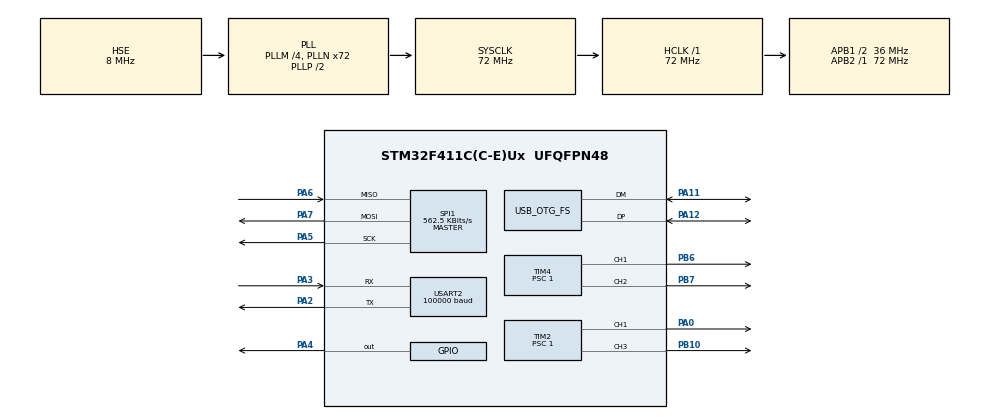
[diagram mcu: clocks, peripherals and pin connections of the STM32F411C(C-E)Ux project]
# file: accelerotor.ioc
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Mcu.Family=STM32F4
Dma.TIM2_CH1.0.MemInc=DMA_MINC_ENABLE
PA6.Mode=Full_Duplex_Master
USB_DEVICE.CLASS_NAME_FS=CDC
RCC.CortexFreq_Value=72000000
SPI1.VirtualType=VM_MASTER
USART2.Parity=PARITY_EVEN
PA11.Mode=Device_Only
Dma.SPI1_RX.4.PeriphInc=DMA_PINC_DISABLE
Dma.TIM2_CH1.0.Instance=DMA1_Stream5
Dma.TIM4_CH2.3.Direction=DMA_MEMORY_TO_PERIPH
RCC.SYSCLKSource=RCC_SYSCLKSOURCE_PLLCLK
ProjectManager.StackSize=0x400
Dma.SPI1_TX.5.Instance=DMA2_Stream2
Dma.TIM4_CH2.3.FIFOMode=DMA_FIFOMODE_DISABLE
PA12.Signal=USB_OTG_FS_DP
PH0\ -\ OSC_IN.Signal=RCC_OSC_IN
Dma.TIM4_CH1.2.Direction=DMA_MEMORY_TO_PERIPH
SPI1.Direction=SPI_DIRECTION_2LINES
Dma.TIM4_CH1.2.Priority=DMA_PRIORITY_LOW
RCC.HCLKFreq_Value=72000000
RCC.APB2TimFreq_Value=72000000
PB6.Signal=S_TIM4_CH1
SPI1.CalculateBaudRate=562.5 KBits/s
NVIC.DMA2_Stream0_IRQn=true\:0\:0\:false\:false\:true\:false\:true
Dma.SPI1_RX.4.MemDataAlignment=DMA_MDATAALIGN_BYTE
RCC.AHBFreq_Value=72000000
Dma.TIM4_CH1.2.Mode=DMA_CIRCULAR
RCC.HSE_VALUE=8000000
PA4.GPIO_PuPd=GPIO_NOPULL
PA4.GPIO_Speed=GPIO_SPEED_FREQ_HIGH
Dma.TIM4_CH1.2.MemDataAlignment=DMA_MDATAALIGN_WORD
Dma.TIM4_CH1.2.MemInc=DMA_MINC_ENABLE
SH.S_TIM4_CH2.0=TIM4_CH2,PWM Generation2 CH2
PB7.Signal=S_TIM4_CH2
Dma.SPI1_TX.5.FIFOMode=DMA_FIFOMODE_DISABLE
Dma.TIM4_CH2.3.Instance=DMA1_Stream3
TIM2.Channel-PWM\ Generation1\ CH1=TIM_CHANNEL_1
Dma.SPI1_TX.5.Priority=DMA_PRIORITY_LOW
TIM4.Period=120
Dma.SPI1_RX.4.FIFOMode=DMA_FIFOMODE_DISABLE
Dma.SPI1_RX.4.MemInc=DMA_MINC_ENABLE
Mcu.Package=UFQFPN48
TIM2.Prescaler=1
Dma.TIM2_CH1.0.FIFOMode=DMA_FIFOMODE_DISABLE
PA6.Signal=SPI1_MISO
Dma.TIM4_CH1.2.FIFOMode=DMA_FIFOMODE_DISABLE
Dma.TIM2_CH3/UP.1.MemDataAlignment=DMA_MDATAALIGN_WORD
USART2.VirtualMode=VM_ASYNC
NVIC.OTG_FS_IRQn=true\:0\:0\:false\:false\:true\:true\:true
USB_OTG_FS.VirtualMode=Device_Only
USART2.WordLength=WORDLENGTH_9B
Dma.TIM2_CH1.0.PeriphDataAlignment=DMA_PDATAALIGN_WORD
Dma.SPI1_TX.5.Direction=DMA_MEMORY_TO_PERIPH
NVIC.DMA2_Stream2_IRQn=true\:0\:0\:false\:false\:true\:false\:true
SH.S_TIM4_CH1.0=TIM4_CH1,PWM Generation1 CH1
Dma.Request2=TIM4_CH1
Dma.TIM4_CH1.2.Instance=DMA1_Stream0
Dma.Request1=TIM2_CH3/UP
Dma.TIM2_CH3/UP.1.Direction=DMA_MEMORY_TO_PERIPH
RCC.APB1TimFreq_Value=72000000
Dma.Request4=SPI1_RX
Dma.TIM2_CH3/UP.1.Priority=DMA_PRIORITY_LOW
Dma.Request3=TIM4_CH2
Dma.Request5=SPI1_TX
NVIC.DMA1_Stream0_IRQn=true\:0\:0\:false\:false\:true\:false\:true
Dma.Request0=TIM2_CH1
SPI1.BaudRatePrescaler=SPI_BAUDRATEPRESCALER_128
Dma.TIM2_CH1.0.Direction=DMA_MEMORY_TO_PERIPH
PA3.Signal=USART2_RX
PA5.Mode=Full_Duplex_Master
Dma.TIM2_CH3/UP.1.Instance=DMA1_Stream1
Dma.SPI1_TX.5.MemInc=DMA_MINC_ENABLE
TIM4.Channel-PWM\ Generation1\ CH1=TIM_CHANNEL_1
Dma.TIM2_CH3/UP.1.MemInc=DMA_MINC_ENABLE
PA7.Mode=Full_Duplex_Master
Dma.SPI1_TX.5.MemDataAlignment=DMA_MDATAALIGN_BYTE
USB_DEVICE.VirtualModeFS=Cdc_FS
Dma.TIM4_CH1.2.PeriphInc=DMA_PINC_DISABLE
Dma.TIM4_CH2.3.PeriphDataAlignment=DMA_PDATAALIGN_WORD
PH1\ -\ OSC_OUT.Mode=HSE-External-Oscillator
Dma.TIM4_CH2.3.PeriphInc=DMA_PINC_DISABLE
Dma.TIM4_CH1.2.PeriphDataAlignment=DMA_PDATAALIGN_WORD
NVIC.DMA1_Stream1_IRQn=true\:0\:0\:false\:false\:true\:false\:true
RCC.APB1CLKDivider=RCC_HCLK_DIV2
Dma.SPI1_RX.4.Instance=DMA2_Stream0
Dma.TIM2_CH3/UP.1.Mode=DMA_CIRCULAR
NVIC.USART2_IRQn=true\:0\:0\:false\:false\:true\:true\:true
USART2.BaudRate=100000
PA0-WKUP.Signal=S_TIM2_CH1_ETR
PA3.Mode=Asynchronous
Dma.SPI1_RX.4.Mode=DMA_NORMAL
PH0\ -\ OSC_IN.Mode=HSE-External-Oscillator
PA4.PinState=GPIO_PIN_SET
ProjectManager.TargetToolchain=SW4STM32
Dma.TIM4_CH2.3.MemInc=DMA_MINC_ENABLE
NVIC.DMA1_Stream5_IRQn=true\:0\:0\:false\:false\:true\:false\:true
VP_USB_DEVICE_VS_USB_DEVICE_CDC_FS.Mode=CDC_FS
Dma.TIM2_CH3/UP.1.FIFOMode=DMA_FIFOMODE_DISABLE
Dma.SPI1_TX.5.Mode=DMA_NORMAL
TIM4.Prescaler=1
RCC.LSE_VALUE=32768
PB10.Signal=S_TIM2_CH3
PA5.Signal=SPI1_SCK
PH1\ -\ OSC_OUT.Signal=RCC_OSC_OUT
board=custom
RCC.VCOOutputFreq_Value=144000000
NVIC.SPI1_IRQn=true\:0\:0\:false\:false\:true\:true\:true
TIM4.Channel-PWM\ Generation2\ CH2=TIM_CHANNEL_2
RCC.APB2Freq_Value=72000000
USART2.StopBits=STOPBITS_2
Dma.TIM2_CH1.0.Priority=DMA_PRIORITY_LOW
VP_TIM2_VS_ClockSourceINT.Mode=Internal
SH.S_TIM2_CH3.0=TIM2_CH3,PWM Generation3 CH3
SPI1.Mode=SPI_MODE_MASTER
TIM2.Channel-PWM\ Generation3\ CH3=TIM_CHANNEL_3
Dma.TIM4_CH2.3.Mode=DMA_CIRCULAR
TIM2.Period=120
Dma.TIM2_CH3/UP.1.PeriphDataAlignment=DMA_PDATAALIGN_WORD
Mcu.Name=STM32F411C(C-E)Ux
PA2.Signal=USART2_TX
Dma.SPI1_RX.4.Priority=DMA_PRIORITY_LOW
RCC.48MHZClocksFreq_Value=48000000
PA4.Signal=GPIO_Output
RCC.SYSCLKFreq_VALUE=72000000
Dma.TIM2_CH1.0.Mode=DMA_CIRCULAR
Dma.SPI1_RX.4.Direction=DMA_PERIPH_TO_MEMORY
PA12.Mode=Device_Only
Dma.TIM4_CH2.3.Priority=DMA_PRIORITY_LOW
Dma.SPI1_TX.5.PeriphInc=DMA_PINC_DISABLE
PA11.Signal=USB_OTG_FS_DM
SH.S_TIM2_CH1_ETR.0=TIM2_CH1,PWM Generation1 CH1
Dma.TIM2_CH1.0.MemDataAlignment=DMA_MDATAALIGN_WORD
Dma.TIM2_CH3/UP.1.PeriphInc=DMA_PINC_DISABLE
ProjectManager.HeapSize=0x200
RCC.HSI_VALUE=16000000
VP_TIM4_VS_ClockSourceINT.Mode=Internal
RCC.PLLQ=3
NVIC.PriorityGroup=NVIC_PRIORITYGROUP_4
RCC.PLLM=4
Dma.SPI1_TX.5.PeriphDataAlignment=DMA_PDATAALIGN_BYTE
RCC.PLLN=72
PA2.Mode=Asynchronous
NVIC.DMA1_Stream3_IRQn=true\:0\:0\:false\:false\:true\:false\:true
RCC.APB1Freq_Value=36000000
USB_DEVICE.VirtualMode=Cdc
Dma.TIM2_CH1.0.PeriphInc=DMA_PINC_DISABLE
Dma.TIM4_CH2.3.MemDataAlignment=DMA_MDATAALIGN_WORD
Dma.SPI1_RX.4.PeriphDataAlignment=DMA_PDATAALIGN_BYTE
PA7.Signal=SPI1_MOSI

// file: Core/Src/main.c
/* USER CODE BEGIN Header */
/**
  ******************************************************************************
  * @file           : main.c
  * @brief          : Main program body
  ******************************************************************************
  * @attention
  *
  * <h2><center>&copy; Copyright (c) 2020 STMicroelectronics.
  * All rights reserved.</center></h2>
  *
  * This software component is licensed by ST under Ultimate Liberty license
  * SLA0044, the "License"; You may not use this file except in compliance with
  * the License. You may obtain a copy of the License at:
  *                             www.st.com/SLA0044
  *
  ******************************************************************************
  */
/* USER CODE END Header */
#include "main.h"
#include "usb_device.h"

/* USER CODE BEGIN Includes */
#include "usbd_cdc_if.h"
#include "MPU6000.h"
/* USER CODE END Includes */

SPI_HandleTypeDef hspi1;
DMA_HandleTypeDef hdma_spi1_rx;
DMA_HandleTypeDef hdma_spi1_tx;

TIM_HandleTypeDef htim2;
TIM_HandleTypeDef htim4;
DMA_HandleTypeDef hdma_tim2_ch1;
DMA_HandleTypeDef hdma_tim2_ch3_up;
DMA_HandleTypeDef hdma_tim4_ch1;
DMA_HandleTypeDef hdma_tim4_ch2;

UART_HandleTypeDef huart2;

/* USER CODE BEGIN PV */
uint8_t SBUSBuffer[25];
uint16_t SBUSChannelValues[18];
//channel 0: roll
//channel 1: pitch
//channel 2: throttle
//channel 3: yaw

uint32_t DSHOT_buffer[4][47] = {0};

int16_t gyrox, gyroy, gyroz;
float ex, ex1, ex2, ux, delta_ux;
float ey, ey1, ey2, uy, delta_uy;
float ez, ez1, ez2, uz, delta_uz;

//initialise PID gains here
float kpx = 1;
float kix = 0;
float kdx = 0;
float k1x, k2x, k3x;

float kpy = 1;
float kiy = 0;
float kdy = 0;
float k1y, k2y, k3y;

float kpz = 1;
float kiz = 0.1;
float kdz = 0.5;
float k1z, k2z, k3z;

//how far above the base throttle we allow each axis of the PID controller to push the motors
int throttle_base;
int throttle_headroom;
float throttle_headroom_percentage = 0.2;
/* USER CODE END PV */

void SystemClock_Config(void);
static void MX_GPIO_Init(void);
static void MX_DMA_Init(void);
static void MX_TIM2_Init(void);
static void MX_TIM4_Init(void);
static void MX_USART2_UART_Init(void);
static void MX_SPI1_Init(void);
/* USER CODE BEGIN PFP */
uint16_t generate_DSHOT_bitstream(uint16_t val);
void set_DSHOT_PWM(uint8_t, uint16_t DSHOT_bitstream);
void arm_motors(void);
void spin_motor(uint8_t motor, uint16_t throttle);
void PID_loop(void);
/* USER CODE END PFP */

/* USER CODE BEGIN 0 */
void HAL_UART_RxCpltCallback(UART_HandleTypeDef *huart)
{
    //decode SBUS UART messages
    HAL_UART_Receive_IT(&huart2, SBUSBuffer, sizeof(SBUSBuffer));

    SBUSChannelValues[0]  = (uint16_t) ((SBUSBuffer[1]    |SBUSBuffer[2] <<8)                      & 0x07FF);
    SBUSChannelValues[1]  = (uint16_t) ((SBUSBuffer[2]>>3 |SBUSBuffer[3] <<5)                      & 0x07FF);
    SBUSChannelValues[2]  = (uint16_t) ((SBUSBuffer[3]>>6 |SBUSBuffer[4] <<2 |SBUSBuffer[5]<<10)   & 0x07FF);
    SBUSChannelValues[3]  = (uint16_t) ((SBUSBuffer[5]>>1 |SBUSBuffer[6] <<7)                      & 0x07FF);
    SBUSChannelValues[4]  = (uint16_t) ((SBUSBuffer[6]>>4 |SBUSBuffer[7] <<4)                      & 0x07FF);
    SBUSChannelValues[5]  = (uint16_t) ((SBUSBuffer[7]>>7 |SBUSBuffer[8] <<1 |SBUSBuffer[9]<<9)    & 0x07FF);
    SBUSChannelValues[6]  = (uint16_t) ((SBUSBuffer[9]>>2 |SBUSBuffer[10] <<6)                     & 0x07FF);
    SBUSChannelValues[7]  = (uint16_t) ((SBUSBuffer[10]>>5|SBUSBuffer[11] <<3)                     & 0x07FF);
    SBUSChannelValues[8]  = (uint16_t) ((SBUSBuffer[12]   |SBUSBuffer[13] <<8)                     & 0x07FF);
    SBUSChannelValues[9]  = (uint16_t) ((SBUSBuffer[13]>>3|SBUSBuffer[14] <<5)                     & 0x07FF);
    SBUSChannelValues[10] = (uint16_t) ((SBUSBuffer[14]>>6|SBUSBuffer[15] <<2 |SBUSBuffer[16]<<10) & 0x07FF);
    SBUSChannelValues[11] = (uint16_t) ((SBUSBuffer[16]>>1|SBUSBuffer[17] <<7)                     & 0x07FF);
    SBUSChannelValues[12] = (uint16_t) ((SBUSBuffer[17]>>4|SBUSBuffer[18] <<4)                     & 0x07FF);
    SBUSChannelValues[13] = (uint16_t) ((SBUSBuffer[18]>>7|SBUSBuffer[19] <<1 |SBUSBuffer[20]<<9)  & 0x07FF);
    SBUSChannelValues[14] = (uint16_t) ((SBUSBuffer[20]>>2|SBUSBuffer[21] <<6)                     & 0x07FF);
    SBUSChannelValues[15] = (uint16_t) ((SBUSBuffer[21]>>5|SBUSBuffer[22] <<3)                     & 0x07FF);
    for(int i = 0; i<25; i++)
    {
        SBUSBuffer[i] = 0;
    }
}

void HAL_SPI_TxRxCpltCallback(SPI_HandleTypeDef *hspi)
{
    MPU6000_deselect();
    if(MPU6000_gyro_read_flag)
    {
        for(int i = 0; i<3; i++)
        {
        }
    }
    MPU6000_busy = 0;
}
/* USER CODE END 0 */

int main(void)
{
    /* USER CODE BEGIN 1 */
    k1x = kpx + kix + kdx;
    k2x = -kpx -2*kdx;
    k3x = kdx;

    k1y = kpy + kiy + kdy;
    k2y = -kpy -2*kdy;
    k3y = kdy;

    k1z = kpz + kiz + kdz;
    k2z = -kpz -2*kdz;
    k3z = kdz;
    /* USER CODE END 1 */

    /* MCU Configuration--------------------------------------------------------*/

    /* Reset of all peripherals, Initializes the Flash interface and the Systick. */
    HAL_Init();

    /* Configure the system clock */
    SystemClock_Config();

    /* Initialize all configured peripherals */
    MX_GPIO_Init();
    MX_DMA_Init();
    MX_TIM2_Init();
    MX_TIM4_Init();
    MX_USART2_UART_Init();
    MX_USB_DEVICE_Init();
    MX_SPI1_Init();
    /* USER CODE BEGIN 2 */
    arm_motors();
    HAL_UART_Receive_IT(&huart2, SBUSBuffer, sizeof(SBUSBuffer));

    //initialise the MPU6000 IMU
    if(MPU6000_init(0) != 0)
        Error_Handler();
    /* USER CODE END 2 */

    /* Infinite loop */
    /* USER CODE BEGIN WHILE */

    while(1)
    {
        MPU6000_read_gyro();
        PID_loop();
        //adjust this delay to adjust PID loop frequency
        HAL_Delay(1);

        //this while loop ensures we can quickly disarm the quadcopter
        while(SBUSChannelValues[1] < 1600){
            spin_motor(1, 0);
            spin_motor(2, 0);
            spin_motor(3, 0);
            spin_motor(4, 0);
        }
        /* USER CODE END WHILE */

    }
}

void SystemClock_Config(void)
{
    RCC_OscInitTypeDef RCC_OscInitStruct = {0};
    RCC_ClkInitTypeDef RCC_ClkInitStruct = {0};

    /** Configure the main internal regulator output voltage
    */
    __HAL_RCC_PWR_CLK_ENABLE();
    __HAL_PWR_VOLTAGESCALING_CONFIG(PWR_REGULATOR_VOLTAGE_SCALE1);
    /** Initializes the RCC Oscillators according to the specified parameters
    * in the RCC_OscInitTypeDef structure.
    */
    RCC_OscInitStruct.OscillatorType = RCC_OSCILLATORTYPE_HSE;
    RCC_OscInitStruct.HSEState = RCC_HSE_ON;
    RCC_OscInitStruct.PLL.PLLState = RCC_PLL_ON;
    RCC_OscInitStruct.PLL.PLLSource = RCC_PLLSOURCE_HSE;
    RCC_OscInitStruct.PLL.PLLM = 4;
    RCC_OscInitStruct.PLL.PLLN = 72;
    RCC_OscInitStruct.PLL.PLLP = RCC_PLLP_DIV2;
    RCC_OscInitStruct.PLL.PLLQ = 3;
    if (HAL_RCC_OscConfig(&RCC_OscInitStruct) != HAL_OK)
    {
        Error_Handler();
    }
    /** Initializes the CPU, AHB and APB buses clocks
    */
    RCC_ClkInitStruct.ClockType = RCC_CLOCKTYPE_HCLK|RCC_CLOCKTYPE_SYSCLK
                                  |RCC_CLOCKTYPE_PCLK1|RCC_CLOCKTYPE_PCLK2;
    RCC_ClkInitStruct.SYSCLKSource = RCC_SYSCLKSOURCE_PLLCLK;
    RCC_ClkInitStruct.AHBCLKDivider = RCC_SYSCLK_DIV1;
    RCC_ClkInitStruct.APB1CLKDivider = RCC_HCLK_DIV2;
    RCC_ClkInitStruct.APB2CLKDivider = RCC_HCLK_DIV1;

    if (HAL_RCC_ClockConfig(&RCC_ClkInitStruct, FLASH_LATENCY_2) != HAL_OK)
    {
        Error_Handler();
    }
}

static void MX_SPI1_Init(void)
{

    /* SPI1 parameter configuration*/
    hspi1.Instance = SPI1;
    hspi1.Init.Mode = SPI_MODE_MASTER;
    hspi1.Init.Direction = SPI_DIRECTION_2LINES;
    hspi1.Init.DataSize = SPI_DATASIZE_8BIT;
    hspi1.Init.CLKPolarity = SPI_POLARITY_LOW;
    hspi1.Init.CLKPhase = SPI_PHASE_1EDGE;
    hspi1.Init.NSS = SPI_NSS_SOFT;
    hspi1.Init.BaudRatePrescaler = SPI_BAUDRATEPRESCALER_128;
    hspi1.Init.FirstBit = SPI_FIRSTBIT_MSB;
    hspi1.Init.TIMode = SPI_TIMODE_DISABLE;
    hspi1.Init.CRCCalculation = SPI_CRCCALCULATION_DISABLE;
    hspi1.Init.CRCPolynomial = 10;
    if (HAL_SPI_Init(&hspi1) != HAL_OK)
    {
        Error_Handler();
    }

}

static void MX_TIM2_Init(void)
{

    TIM_ClockConfigTypeDef sClockSourceConfig = {0};
    TIM_MasterConfigTypeDef sMasterConfig = {0};
    TIM_OC_InitTypeDef sConfigOC = {0};

    htim2.Instance = TIM2;
    htim2.Init.Prescaler = 1;
    htim2.Init.CounterMode = TIM_COUNTERMODE_UP;
    htim2.Init.Period = 120;
    htim2.Init.ClockDivision = TIM_CLOCKDIVISION_DIV1;
    htim2.Init.AutoReloadPreload = TIM_AUTORELOAD_PRELOAD_DISABLE;
    if (HAL_TIM_Base_Init(&htim2) != HAL_OK)
    {
        Error_Handler();
    }
    sClockSourceConfig.ClockSource = TIM_CLOCKSOURCE_INTERNAL;
    if (HAL_TIM_ConfigClockSource(&htim2, &sClockSourceConfig) != HAL_OK)
    {
        Error_Handler();
    }
    if (HAL_TIM_PWM_Init(&htim2) != HAL_OK)
    {
        Error_Handler();
    }
    sMasterConfig.MasterOutputTrigger = TIM_TRGO_RESET;
    sMasterConfig.MasterSlaveMode = TIM_MASTERSLAVEMODE_DISABLE;
    if (HAL_TIMEx_MasterConfigSynchronization(&htim2, &sMasterConfig) != HAL_OK)
    {
        Error_Handler();
    }
    sConfigOC.OCMode = TIM_OCMODE_PWM1;
    sConfigOC.Pulse = 0;
    sConfigOC.OCPolarity = TIM_OCPOLARITY_HIGH;
    sConfigOC.OCFastMode = TIM_OCFAST_DISABLE;
    if (HAL_TIM_PWM_ConfigChannel(&htim2, &sConfigOC, TIM_CHANNEL_1) != HAL_OK)
    {
        Error_Handler();
    }
    if (HAL_TIM_PWM_ConfigChannel(&htim2, &sConfigOC, TIM_CHANNEL_3) != HAL_OK)
    {
        Error_Handler();
    }
    HAL_TIM_MspPostInit(&htim2);

}

static void MX_TIM4_Init(void)
{

    TIM_ClockConfigTypeDef sClockSourceConfig = {0};
    TIM_MasterConfigTypeDef sMasterConfig = {0};
    TIM_OC_InitTypeDef sConfigOC = {0};

    htim4.Instance = TIM4;
    htim4.Init.Prescaler = 1;
    htim4.Init.CounterMode = TIM_COUNTERMODE_UP;
    htim4.Init.Period = 120;
    htim4.Init.ClockDivision = TIM_CLOCKDIVISION_DIV1;
    htim4.Init.AutoReloadPreload = TIM_AUTORELOAD_PRELOAD_DISABLE;
    if (HAL_TIM_Base_Init(&htim4) != HAL_OK)
    {
        Error_Handler();
    }
    sClockSourceConfig.ClockSource = TIM_CLOCKSOURCE_INTERNAL;
    if (HAL_TIM_ConfigClockSource(&htim4, &sClockSourceConfig) != HAL_OK)
    {
        Error_Handler();
    }
    if (HAL_TIM_PWM_Init(&htim4) != HAL_OK)
    {
        Error_Handler();
    }
    sMasterConfig.MasterOutputTrigger = TIM_TRGO_RESET;
    sMasterConfig.MasterSlaveMode = TIM_MASTERSLAVEMODE_DISABLE;
    if (HAL_TIMEx_MasterConfigSynchronization(&htim4, &sMasterConfig) != HAL_OK)
    {
        Error_Handler();
    }
    sConfigOC.OCMode = TIM_OCMODE_PWM1;
    sConfigOC.Pulse = 0;
    sConfigOC.OCPolarity = TIM_OCPOLARITY_HIGH;
    sConfigOC.OCFastMode = TIM_OCFAST_DISABLE;
    if (HAL_TIM_PWM_ConfigChannel(&htim4, &sConfigOC, TIM_CHANNEL_1) != HAL_OK)
    {
        Error_Handler();
    }
    if (HAL_TIM_PWM_ConfigChannel(&htim4, &sConfigOC, TIM_CHANNEL_2) != HAL_OK)
    {
        Error_Handler();
    }
    HAL_TIM_MspPostInit(&htim4);

}

static void MX_USART2_UART_Init(void)
{

    huart2.Instance = USART2;
    huart2.Init.BaudRate = 100000;
    huart2.Init.WordLength = UART_WORDLENGTH_9B;
    huart2.Init.StopBits = UART_STOPBITS_2;
    huart2.Init.Parity = UART_PARITY_EVEN;
    huart2.Init.Mode = UART_MODE_TX_RX;
    huart2.Init.HwFlowCtl = UART_HWCONTROL_NONE;
    huart2.Init.OverSampling = UART_OVERSAMPLING_16;
    if (HAL_UART_Init(&huart2) != HAL_OK)
    {
        Error_Handler();
    }

}

static void MX_DMA_Init(void)
{

    /* DMA controller clock enable */
    __HAL_RCC_DMA1_CLK_ENABLE();
    __HAL_RCC_DMA2_CLK_ENABLE();

    /* DMA interrupt init */
    /* DMA1_Stream0_IRQn interrupt configuration */
    HAL_NVIC_SetPriority(DMA1_Stream0_IRQn, 0, 0);
    HAL_NVIC_EnableIRQ(DMA1_Stream0_IRQn);
    /* DMA1_Stream1_IRQn interrupt configuration */
    HAL_NVIC_SetPriority(DMA1_Stream1_IRQn, 0, 0);
    HAL_NVIC_EnableIRQ(DMA1_Stream1_IRQn);
    /* DMA1_Stream3_IRQn interrupt configuration */
    HAL_NVIC_SetPriority(DMA1_Stream3_IRQn, 0, 0);
    HAL_NVIC_EnableIRQ(DMA1_Stream3_IRQn);
    /* DMA1_Stream5_IRQn interrupt configuration */
    HAL_NVIC_SetPriority(DMA1_Stream5_IRQn, 0, 0);
    HAL_NVIC_EnableIRQ(DMA1_Stream5_IRQn);
    /* DMA2_Stream0_IRQn interrupt configuration */
    HAL_NVIC_SetPriority(DMA2_Stream0_IRQn, 0, 0);
    HAL_NVIC_EnableIRQ(DMA2_Stream0_IRQn);
    /* DMA2_Stream2_IRQn interrupt configuration */
    HAL_NVIC_SetPriority(DMA2_Stream2_IRQn, 0, 0);
    HAL_NVIC_EnableIRQ(DMA2_Stream2_IRQn);

}

static void MX_GPIO_Init(void)
{
    GPIO_InitTypeDef GPIO_InitStruct = {0};

    /* GPIO Ports Clock Enable */
    __HAL_RCC_GPIOH_CLK_ENABLE();
    __HAL_RCC_GPIOA_CLK_ENABLE();
    __HAL_RCC_GPIOB_CLK_ENABLE();

    /*Configure GPIO pin Output Level */
    HAL_GPIO_WritePin(GPIOA, GPIO_PIN_4, GPIO_PIN_SET);

    /*Configure GPIO pin : PA4 */
    GPIO_InitStruct.Pin = GPIO_PIN_4;
    GPIO_InitStruct.Mode = GPIO_MODE_OUTPUT_PP;
    GPIO_InitStruct.Pull = GPIO_NOPULL;
    GPIO_InitStruct.Speed = GPIO_SPEED_FREQ_HIGH;
    HAL_GPIO_Init(GPIOA, &GPIO_InitStruct);

}

/* USER CODE BEGIN 4 */

uint16_t generate_DSHOT_bitstream(uint16_t val)
{
    uint16_t DSHOT_bitstream = 0;

    if(val > 2047)
        val = 0;

    DSHOT_bitstream = val << 1;
    DSHOT_bitstream &= ~(1<<0);
    int csum = 0;
    int csum_data = DSHOT_bitstream;
    for (int i = 0; i < 3; i++) {
        csum ^=  csum_data;   // xor data by nibbles
        csum_data >>= 4;
    }
    csum &= 0xf;
    // append checksum
    DSHOT_bitstream = (DSHOT_bitstream << 4) | csum;

    return DSHOT_bitstream;
}

void set_DSHOT_PWM(uint8_t motor, uint16_t DSHOT_bitstream)
{
    //HAL_TIM_PWM_Stop_DMA(&htim2, TIM_CHANNEL_1);

    for(int i = 0; i<16; i++)
    {
        if((DSHOT_bitstream) & (1<<(15-i)))
            DSHOT_buffer[motor-1][i] = 90;
        else
            DSHOT_buffer[motor-1][i] = 45;
    }

    switch(motor)
    {
        case 1:
            if (HAL_TIM_PWM_Start_DMA(&htim4, TIM_CHANNEL_1, DSHOT_buffer[0], 47) != HAL_OK)
                Error_Handler();
            break;
        case 2:
            if (HAL_TIM_PWM_Start_DMA(&htim2, TIM_CHANNEL_1, DSHOT_buffer[1], 47) != HAL_OK)
                Error_Handler();
            break;
        case 3:
            if (HAL_TIM_PWM_Start_DMA(&htim2, TIM_CHANNEL_3, DSHOT_buffer[2], 47) != HAL_OK)
                Error_Handler();
            break;
        case 4:
            if (HAL_TIM_PWM_Start_DMA(&htim4, TIM_CHANNEL_2, DSHOT_buffer[3], 47) != HAL_OK)
                Error_Handler();
            break;
    }

}

void spin_motor(uint8_t motor, uint16_t throttle)
{
    uint16_t true_throttle = throttle + 48;
    uint16_t DSHOT_bitstream = generate_DSHOT_bitstream(true_throttle);
    set_DSHOT_PWM(motor, DSHOT_bitstream);
}

void arm_motors(void)
{
    for(int i = 1; i<= 4; i++)
    {
        set_DSHOT_PWM(i, 0);
        HAL_Delay(1);
    }
    HAL_Delay(1000);
    for(int i = 1; i<= 4; i++)
    {
        set_DSHOT_PWM(i, 0b0000011000000110);
        HAL_Delay(1);
    }
    HAL_Delay(2000);
}

void MPU6000_select(void)
{
    HAL_GPIO_WritePin(GPIOA, GPIO_PIN_4, GPIO_PIN_RESET);
}

void MPU6000_deselect(void)
{
    HAL_GPIO_WritePin(GPIOA, GPIO_PIN_4, GPIO_PIN_SET);
}

void MPU6000_start_transfer(uint8_t TxData[], uint8_t length)
{
    //transfers the first [length] bytes of TxData
    //responses are stored in MPU6000_rx_buffer

    //wait until existing SPI communications are complete, then set the busy flag and pull CS low
    while(MPU6000_busy);
    MPU6000_busy = 1;
    MPU6000_select();

    //begin transfer
    if(HAL_SPI_TransmitReceive_DMA(&hspi1, TxData, MPU6000_rx_buffer, length) != HAL_OK)
        Error_Handler();

    //clear MPU6000_tx_buffer in preperation for the next transfer
    for(int i = 0; i<10; i++)
    {
        MPU6000_tx_buffer[i] = 0x00;
    }
}

uint8_t MPU6000_init(uint8_t sample_rate_div)
{
    //Disable i2c interface
    MPU6000_tx_buffer[0] = MPUREG_USER_CTRL;
    MPU6000_tx_buffer[1] = BIT_I2C_IF_DIS;
    MPU6000_start_transfer(MPU6000_tx_buffer, 2);
    while(MPU6000_busy);

    //check the device is responding before proceeding
    MPU6000_tx_buffer[0] = MPUREG_WHOAMI|READ_FLAG;
    MPU6000_tx_buffer[1] = 0x00;
    MPU6000_start_transfer(MPU6000_tx_buffer, 2);
    while(MPU6000_busy);
    if(MPU6000_rx_buffer[1] != 104)
        return(0xEE);

    //reset the device
    MPU6000_tx_buffer[0] = MPUREG_PWR_MGMT_1;
    MPU6000_tx_buffer[1] = BIT_H_RESET;
    MPU6000_start_transfer(MPU6000_tx_buffer, 2);
    while(MPU6000_busy);
    HAL_Delay(100);

    //reset signal path as described in register descriptions, page 41
    MPU6000_tx_buffer[0] = MPUREG_SIGNAL_PATH_RESET;
    MPU6000_tx_buffer[1] = BITS_SIGNAL_PATH_RESET;
    MPU6000_start_transfer(MPU6000_tx_buffer, 2);
    while(MPU6000_busy);
    HAL_Delay(100);

    //disable i2c again after reset
    MPU6000_tx_buffer[0] = MPUREG_USER_CTRL;
    MPU6000_tx_buffer[1] = BIT_I2C_IF_DIS;
    MPU6000_start_transfer(MPU6000_tx_buffer, 2);
    while(MPU6000_busy);

    //use GYRO Z as the clock instead of internal RC oscillator for improved stability
    //important to do this before setting any other registers, otherwise they appear to reset. No mention of this in the
    //datasheet or register descriptions though...
    MPU6000_tx_buffer[0] = MPUREG_PWR_MGMT_1;
    MPU6000_tx_buffer[1] = MPU_CLK_SEL_PLLGYROZ;
    MPU6000_start_transfer(MPU6000_tx_buffer, 2);
    while(MPU6000_busy);

    //set gyro sample rate divider. Formula is Sample Rate = Gyroscope Output Rate / (1 + sample_rate_div)
    //gyro output rate defaults to 8kHz, or 1kHz when enabling the digital low pass filter.
    if(sample_rate_div)
    {
        MPU6000_tx_buffer[0] = MPUREG_SMPLRT_DIV;
        MPU6000_tx_buffer[1] = sample_rate_div;
        MPU6000_start_transfer(MPU6000_tx_buffer, 2);
        while (MPU6000_busy);
    }
}

uint8_t MPU6000_read_gyro(void)
{
    //for a 250deg/sec range, 1 LSB corresponds to 0.43737261522 rad/s

    MPU6000_gyro_read_flag = 1;

    MPU6000_tx_buffer[0] = MPUREG_GYRO_XOUT_H | READ_FLAG;
    MPU6000_tx_buffer[1] = 0x00;
    MPU6000_tx_buffer[2] = 0x00;
    MPU6000_tx_buffer[3] = MPUREG_GYRO_YOUT_H | READ_FLAG;
    MPU6000_tx_buffer[4] = 0x00;
    MPU6000_tx_buffer[5] = MPUREG_GYRO_ZOUT_H | READ_FLAG;
    MPU6000_tx_buffer[6] = 0x00;

    MPU6000_start_transfer(MPU6000_tx_buffer, 6);
}

void PID_loop(void)
{
    throttle_base = SBUSChannelValues[2];
    if(throttle_base < 200)
        throttle_base = 200;
    else if(throttle_base > 1800)
        throttle_base = 1800;

    throttle_headroom = throttle_headroom_percentage * throttle_base;

    //read gyro. x and y axes inverted to follow a right-hand rule sign convention
    gyrox = MPU6000_rx_buffer[1] << 8 | MPU6000_rx_buffer[2];
    gyrox = -gyrox;
    gyroy = MPU6000_rx_buffer[3] << 8 | MPU6000_rx_buffer[4];
    gyroy = -gyroy;
    gyroz = MPU6000_rx_buffer[5] << 8 | MPU6000_rx_buffer[6];

    //x axis
    ex2 = ex1;
    ex1 = ex;
    ex = 0 - gyrox;
    delta_ux = k1x*ex + k2x*ex1 + k3x*ex2;
    ux = ux + delta_ux;
    if(ux < -32768)
        ux = -32768;
    else if(ux > 32767)
        ux = 32767;

    //y axis
    ey2 = ey1;
    ey1 = ey;
    ey = 0 - gyroy;
    delta_uy = k1y*ey + k2y*ey1 + k3y*ey2;
    uy = uy + delta_uy;

    if(uy < -32768)
        uy = -32768;
    else if(uy > 32767)
        uy= 32767;

    //z axis
    ez2 = ez1;
    ez1 = ez;
    ez = 0 - gyroz;
    delta_uz = k1z*ez + k2z*ez1 + k3z*ez2;
    uz = uz + delta_uz;

    if(uz < -32768)
        uz = -32768;
    else if(uz > 32767)
        uz= 32767;

    spin_motor(1, throttle_base - ((ux/32768) * throttle_headroom) - ((uy/32768) * throttle_headroom)
    + ((uz/32768) * throttle_headroom)) ;
    spin_motor(2, throttle_base + ((ux/32768) * throttle_headroom) - ((uy/32768) * throttle_headroom)
    - ((uz/32768) * throttle_headroom));
    spin_motor(3, throttle_base - ((ux/32768) * throttle_headroom) + ((uy/32768) * throttle_headroom)
    - ((uz/32768) * throttle_headroom));
    spin_motor(4, throttle_base + ((ux/32768) * throttle_headroom) + ((uy/32768) * throttle_headroom)
    + ((uz/32768) * throttle_headroom));
}
/* USER CODE END 4 */

void Error_Handler(void)
{
}

/************************ (C) COPYRIGHT STMicroelectronics *****END OF FILE****/
